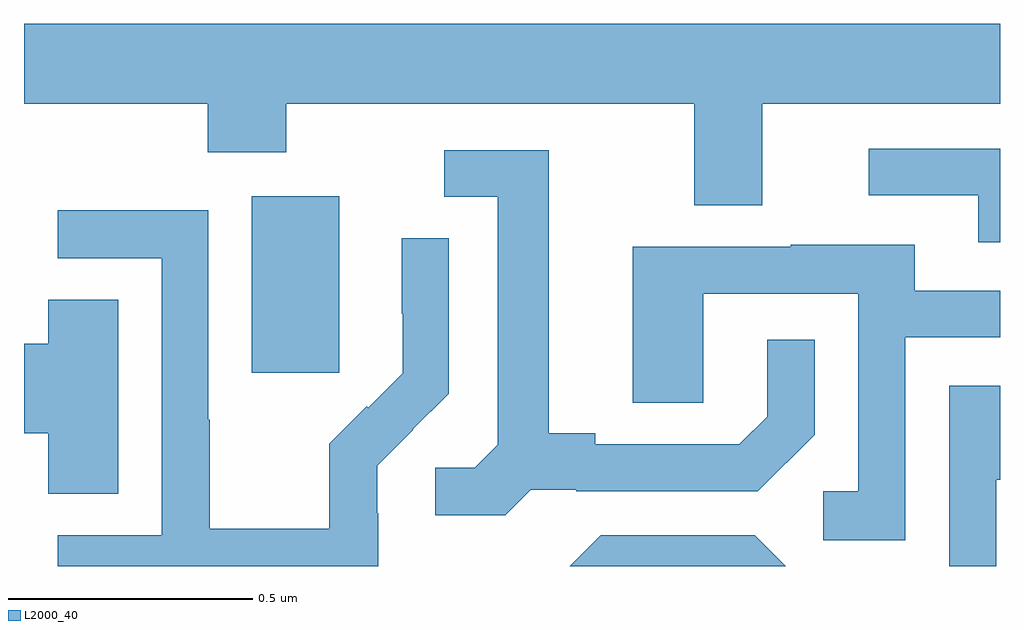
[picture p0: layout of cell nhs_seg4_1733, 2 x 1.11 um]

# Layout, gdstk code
import gdstk
lib = gdstk.Library(unit=1e-6, precision=1e-09)
def R(c, l, rs):  # rectangles x0, y0, x1, y1
    for r in rs: c.add(gdstk.rectangle(r[:2], r[2:], *l))
def P(c, l, *ps):  # polygons
    for p in ps: c.add(gdstk.Polygon(p, *l))
L2000_40 = (2000, 40)

nhs_seg4_1733 = lib.new_cell('nhs_seg4_1733')
R(nhs_seg4_1733, L2000_40, [(132.467,768.297,132.646,768.658)])
P(nhs_seg4_1733, L2000_40, [(133.513,768.848),(134,768.848),(134,769.012),(132,769.012),(132,768.848),(132.377,768.848),(132.377,768.749),(132.537,768.749),(132.537,768.848),(133.373,768.848),(133.373,768.64),(133.513,768.64)],
  [(134,768.756),(133.731,768.756),(133.731,768.66),(133.955,768.66),(133.955,768.564),(134,768.564)],
  [(133.038,768.057),(133.132,768.057),(133.132,768.054),(133.504,768.054),(133.62,768.17),(133.62,768.364),(133.523,768.364),(133.523,768.207),(133.466,768.15),(133.171,768.15),(133.171,768.173),(133.075,768.173),(133.075,768.753),(132.861,768.753),(132.861,768.657),(132.971,768.657),(132.971,768.149),(132.924,768.102),(132.843,768.102),(132.843,768.005),(132.986,768.005)],
  [(132.726,768.009),(132.724,768.009),(132.724,768.106),(132.798,768.18),(132.797,768.181),(132.87,768.254),(132.87,768.572),(132.774,768.572),(132.774,768.418),(132.776,768.418),(132.776,768.296),(132.705,768.225),(132.702,768.228),(132.625,768.151),(132.625,767.977),(132.381,767.977),(132.381,768.2),(132.378,768.2),(132.378,768.63),(132.069,768.63),(132.069,768.531),(132.282,768.531),(132.282,767.964),(132.069,767.964),(132.069,767.9),(132.726,767.9)],
  [(133.806,768.369),(134,768.369),(134,768.465),(133.825,768.465),(133.825,768.559),(133.571,768.559),(133.571,768.555),(133.247,768.555),(133.247,768.235),(133.392,768.235),(133.392,768.459),(133.71,768.459),(133.71,768.054),(133.638,768.054),(133.638,767.953),(133.806,767.953)],
  [(132.193,768.446),(132.05,768.446),(132.05,768.356),(132,768.356),(132,768.173),(132.05,768.173),(132.05,768.049),(132.193,768.049)],
  [(133.992,768.077),(134,768.077),(134,768.27),(133.896,768.27),(133.896,767.9),(133.992,767.9)],
  [(133.497,767.964),(133.182,767.964),(133.118,767.9),(133.561,767.9)])

lib.write_gds('nhs_seg4_1733.gds')
